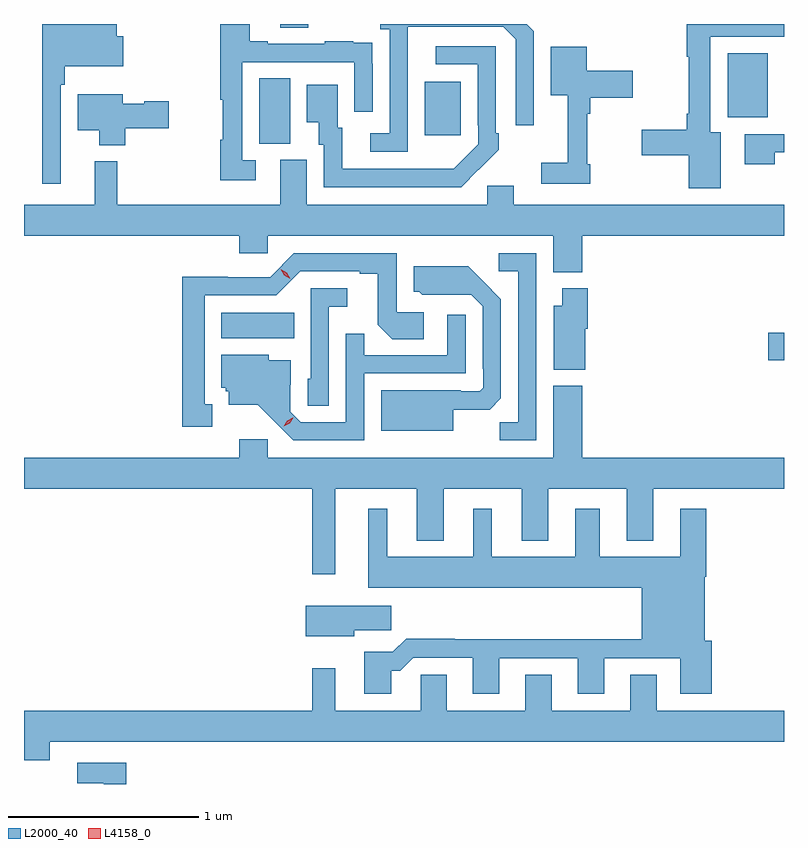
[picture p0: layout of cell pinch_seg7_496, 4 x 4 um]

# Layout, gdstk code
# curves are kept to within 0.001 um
import gdstk
lib = gdstk.Library(unit=1e-6, precision=1e-09)
def R(c, l, rs):  # rectangles x0, y0, x1, y1
    for r in rs: c.add(gdstk.rectangle(r[:2], r[2:], *l))
def P(c, l, *ps):  # polygons
    for p in ps: c.add(gdstk.Polygon(p, *l))
L2000_40 = (2000, 40)
L4158_0 = (4158, 0)

pinch_seg7_496 = lib.new_cell('pinch_seg7_496')
R(pinch_seg7_496, L2000_40, [(135.144,1077.215,135.227,1077.362), (132.266,1077.332,132.65,1077.466), (132.464,1078.357,132.628,1078.7), (133.337,1078.401,133.525,1078.681), (134.93,1078.496,135.142,1078.831), (132.575,1078.966,132.723,1078.986)])
P(pinch_seg7_496, L2000_40, [(131.421,1078.667),(131.441,1078.667),(131.441,1078.763),(131.749,1078.763),(131.749,1078.921),(131.714,1078.921),(131.714,1078.986),(131.324,1078.986),(131.324,1078.146),(131.421,1078.146)],
  [(133.248,1078.971),(133.749,1078.971),(133.815,1078.905),(133.815,1078.452),(133.911,1078.452),(133.911,1078.947),(133.872,1078.986),(133.101,1078.986),(133.101,1078.958),(133.152,1078.958),(133.152,1078.41),(133.05,1078.41),(133.05,1078.314),(133.248,1078.314)],
  [(132.448,1078.269),(132.375,1078.269),(132.375,1078.785),(132.966,1078.785),(132.966,1078.524),(133.062,1078.524),(133.062,1078.778),(133.061,1078.778),(133.061,1078.887),(132.959,1078.887),(132.959,1078.894),(132.811,1078.894),(132.811,1078.881),(132.511,1078.881),(132.511,1078.894),(132.415,1078.894),(132.415,1078.986),(132.259,1078.986),(132.259,1078.587),(132.274,1078.587),(132.274,1078.376),(132.259,1078.376),(132.259,1078.164),(132.448,1078.164)],
  [(134.893,1078.417),(134.839,1078.417),(134.839,1078.92),(135.227,1078.92),(135.227,1078.986),(134.714,1078.986),(134.714,1078.813),(134.726,1078.813),(134.726,1078.513),(134.714,1078.513),(134.714,1078.43),(134.478,1078.43),(134.478,1078.295),(134.726,1078.295),(134.726,1078.122),(134.893,1078.122)],
  [(133.619,1078.219),(133.62,1078.218),(133.725,1078.323),(133.725,1078.411),(133.71,1078.411),(133.71,1078.869),(133.395,1078.869),(133.395,1078.773),(133.614,1078.773),(133.614,1078.453),(133.617,1078.453),(133.617,1078.353),(133.489,1078.225),(132.901,1078.224),(132.901,1078.44),(132.877,1078.44),(132.877,1078.666),(132.716,1078.666),(132.716,1078.469),(132.779,1078.469),(132.779,1078.35),(132.804,1078.35),(132.804,1078.128),(133.528,1078.128)],
  [(134.207,1078.249),(134.192,1078.249),(134.192,1078.514),(134.207,1078.514),(134.207,1078.598),(134.431,1078.598),(134.431,1078.74),(134.188,1078.74),(134.188,1078.867),(134,1078.867),(134,1078.61),(134.09,1078.61),(134.09,1078.255),(133.95,1078.255),(133.95,1078.146),(134.207,1078.146)],
  [(131.759,1078.438),(131.989,1078.438),(131.989,1078.58),(131.859,1078.58),(131.859,1078.567),(131.746,1078.567),(131.746,1078.615),(131.51,1078.615),(131.51,1078.427),(131.624,1078.427),(131.624,1078.349),(131.759,1078.349)],
  [(135.177,1078.311),(135.227,1078.311),(135.227,1078.407),(135.021,1078.407),(135.021,1078.248),(135.177,1078.248)],
  [(134.165,1077.872),(135.227,1077.872),(135.227,1078.036),(133.804,1078.036),(133.804,1078.134),(133.665,1078.134),(133.665,1078.036),(132.715,1078.036),(132.715,1078.272),(132.575,1078.272),(132.575,1078.036),(131.717,1078.036),(131.717,1078.264),(131.6,1078.264),(131.6,1078.036),(131.227,1078.036),(131.227,1077.872),(132.359,1077.872),(132.359,1077.779),(132.51,1077.779),(132.51,1077.872),(134.012,1077.872),(134.012,1077.68),(134.165,1077.68)],
  [(132.217,1076.985),(132.178,1076.985),(132.178,1077.558),(132.555,1077.558),(132.681,1077.684),(132.995,1077.684),(132.995,1077.672),(133.089,1077.672),(133.089,1077.404),(133.165,1077.328),(133.33,1077.328),(133.33,1077.468),(133.188,1077.468),(133.188,1077.78),(132.648,1077.78),(132.522,1077.654),(132.3,1077.654),(132.3,1077.656),(132.06,1077.656),(132.06,1076.865),(132.217,1076.865)],
  [(133.923,1077.78),(133.725,1077.78),(133.725,1077.684),(133.827,1077.684),(133.827,1076.891),(133.732,1076.891),(133.732,1076.796),(133.923,1076.796)],
  [(133.486,1076.957),(133.678,1076.957),(133.737,1077.016),(133.737,1077.538),(133.565,1077.712),(133.277,1077.712),(133.277,1077.576),(133.308,1077.576),(133.324,1077.56),(133.581,1077.561),(133.641,1077.501),(133.641,1077.172),(133.644,1077.172),(133.644,1077.072),(133.626,1077.054),(133.526,1077.054),(133.526,1077.058),(133.106,1077.058),(133.106,1076.846),(133.486,1076.846)],
  [(134.182,1077.381),(134.195,1077.381),(134.195,1077.595),(134.06,1077.595),(134.06,1077.502),(134.015,1077.502),(134.015,1077.167),(134.182,1077.167)],
  [(132.831,1077.497),(132.928,1077.497),(132.928,1077.594),(132.735,1077.594),(132.735,1077.12),(132.72,1077.12),(132.72,1076.977),(132.831,1076.977)],
  [(133.017,1077.147),(133.551,1077.147),(133.551,1077.457),(133.455,1077.457),(133.455,1077.243),(133.019,1077.243),(133.019,1077.356),(132.921,1077.356),(132.921,1076.889),(132.684,1076.889),(132.627,1076.946),(132.627,1077.088),(132.631,1077.088),(132.631,1077.217),(132.516,1077.217),(132.516,1077.244),(132.266,1077.244),(132.266,1077.072),(132.288,1077.072),(132.288,1077.054),(132.305,1077.054),(132.305,1076.981),(132.457,1076.981),(132.644,1076.796),(133.017,1076.796)],
  [(132.865,1076.54),(133.295,1076.54),(133.295,1076.267),(133.435,1076.267),(133.435,1076.54),(133.847,1076.54),(133.847,1076.267),(133.987,1076.267),(133.987,1076.54),(134.399,1076.54),(134.399,1076.267),(134.539,1076.267),(134.539,1076.54),(135.227,1076.54),(135.227,1076.704),(134.165,1076.704),(134.165,1077.082),(134.012,1077.082),(134.012,1076.704),(132.51,1076.704),(132.51,1076.8),(132.359,1076.8),(132.359,1076.704),(131.227,1076.704),(131.227,1076.54),(132.744,1076.54),(132.744,1076.091),(132.865,1076.091)],
  [(133.159,1075.583),(133.208,1075.583),(133.275,1075.65),(133.589,1075.65),(133.589,1075.461),(133.729,1075.461),(133.729,1075.647),(134.141,1075.647),(134.141,1075.461),(134.281,1075.461),(134.281,1075.647),(134.681,1075.647),(134.681,1075.461),(134.846,1075.461),(134.846,1075.74),(134.809,1075.74),(134.809,1076.078),(134.817,1076.078),(134.817,1076.434),(134.681,1076.434),(134.681,1076.182),(134.257,1076.182),(134.257,1076.434),(134.129,1076.434),(134.129,1076.182),(133.69,1076.182),(133.69,1076.434),(133.592,1076.434),(133.592,1076.182),(133.138,1076.182),(133.138,1076.434),(133.04,1076.434),(133.04,1076.018),(134.477,1076.018),(134.477,1075.748),(133.493,1075.748),(133.493,1075.751),(133.238,1075.751),(133.168,1075.681),(133.019,1075.681),(133.019,1075.461),(133.159,1075.461)],
  [(132.964,1075.795),(133.159,1075.795),(133.159,1075.924),(132.71,1075.924),(132.71,1075.763),(132.964,1075.763)],
  [(131.362,1075.208),(135.227,1075.208),(135.227,1075.372),(134.557,1075.372),(134.557,1075.562),(134.417,1075.562),(134.417,1075.372),(134.005,1075.372),(134.005,1075.562),(133.865,1075.562),(133.865,1075.372),(133.453,1075.372),(133.453,1075.562),(133.314,1075.562),(133.314,1075.372),(132.865,1075.372),(132.865,1075.594),(132.744,1075.594),(132.744,1075.372),(131.227,1075.372),(131.227,1075.11),(131.362,1075.11)],
  [(131.765,1075.098),(131.508,1075.098),(131.508,1074.99),(131.648,1074.99),(131.648,1074.986),(131.765,1074.986)])
P(pinch_seg7_496, L4158_0, [(132.594,1076.868),(132.594,1076.868),(132.612,1076.898),(132.642,1076.914),(132.643,1076.914),(132.643,1076.914),(132.626,1076.884),(132.595,1076.868)],
  [(132.627,1077.644),(132.596,1077.663),(132.578,1077.695),(132.578,1077.695),(132.578,1077.695),(132.61,1077.677),(132.628,1077.644),(132.628,1077.644)])

lib.write_gds('pinch_seg7_496.gds')
